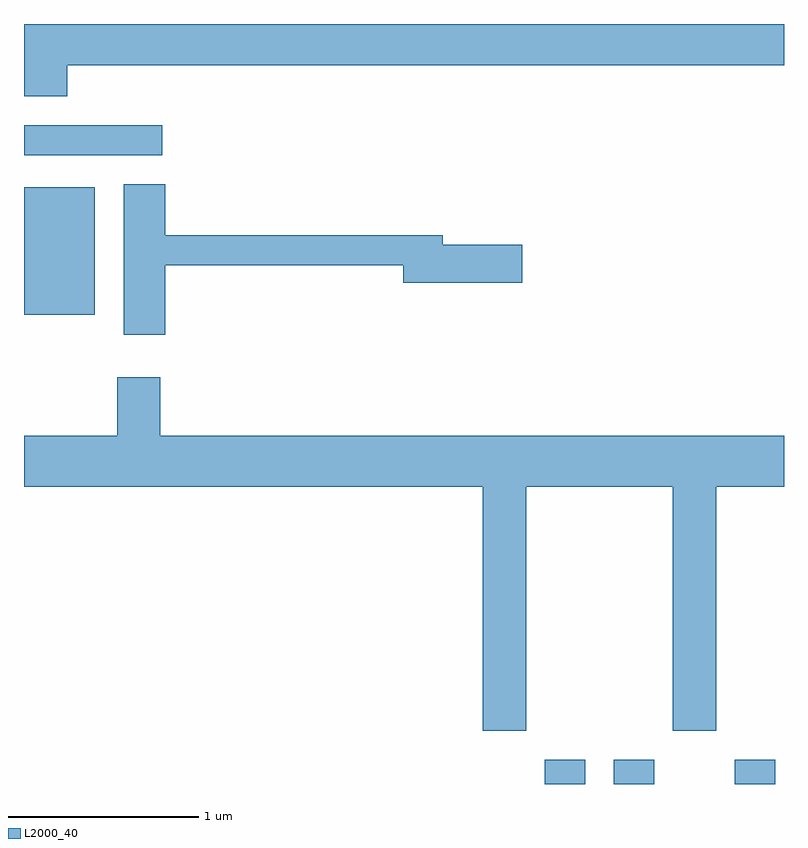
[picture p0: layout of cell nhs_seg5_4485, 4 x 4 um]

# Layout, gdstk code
import gdstk
lib = gdstk.Library(unit=1e-6, precision=1e-09)
def R(c, l, rs):  # rectangles x0, y0, x1, y1
    for r in rs: c.add(gdstk.rectangle(r[:2], r[2:], *l))
def P(c, l, *ps):  # polygons
    for p in ps: c.add(gdstk.Polygon(p, *l))
L2000_40 = (2000, 40)

nhs_seg5_4485 = lib.new_cell('nhs_seg5_4485')
R(nhs_seg5_4485, L2000_40, [(320.351,1504.072,320.564,1504.199), (320.716,1504.072,320.929,1504.199), (321.351,1504.072,321.564,1504.199), (317.611,1506.541,317.984,1507.214), (317.611,1507.381,318.338,1507.539)])
P(nhs_seg5_4485, L2000_40, [(317.839,1507.856),(321.611,1507.856),(321.611,1508.072),(317.611,1508.072),(317.611,1507.691),(317.839,1507.691)],
  [(318.354,1506.801),(319.606,1506.801),(319.606,1506.711),(320.234,1506.711),(320.234,1506.909),(319.814,1506.909),(319.814,1506.959),(318.354,1506.959),(318.354,1507.229),(318.136,1507.229),(318.136,1506.436),(318.354,1506.436)],
  [(320.254,1505.636),(321.026,1505.636),(321.026,1504.351),(321.254,1504.351),(321.254,1505.636),(321.611,1505.636),(321.611,1505.904),(318.329,1505.904),(318.329,1506.214),(318.101,1506.214),(318.101,1505.904),(317.611,1505.904),(317.611,1505.636),(320.026,1505.636),(320.026,1504.351),(320.254,1504.351)])

lib.write_gds('nhs_seg5_4485.gds')
